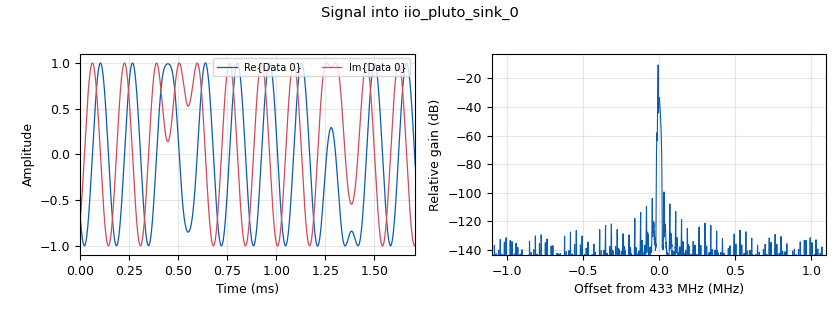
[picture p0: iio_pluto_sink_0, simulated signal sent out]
options:
  parameters:
    generate_options: qt_gui
    id: ok
    output_language: python
    title: Not titled yet
  states: {}

blocks:
- name: samp_rate
  id: variable
  parameters:
    value: '9600'
  states: {}
- name: samp_rate_base
  id: variable
  parameters:
    value: sps*samp_rate
  states: {}
- name: samp_rate_pluto
  id: variable
  parameters:
    value: '2200000'
  states: {}
- name: sps
  id: variable
  parameters:
    value: '4'
  states: {}
- name: blocks_vector_source_x_0
  id: blocks_vector_source_x
  parameters:
    repeat: 'True'
    type: byte
    vector: '[1,0,1,0,1,0,1,0,1,0,1,0,1,0,1,0,1,0,1,0,1,0,1,0,1,0,1,0,1,0,1,0,1,0,0,0,0,1,1,1,0,1,0,1,1,0,1,0,1,1,1,1,0,1,1,0,1,1,0,1,0,1,1,0]'
  states: {}
- name: digital_gfsk_mod_0
  id: digital_gfsk_mod
  parameters:
    bt: '0.5'
    samples_per_symbol: sps
    sensitivity: '1.0'
  states: {}
- name: iio_pluto_sink_0
  id: iio_pluto_sink
  parameters:
    attenuation1: '10.0'
    bandwidth: '20000000'
    buffer_size: '32768'
    cyclic: 'False'
    filter_source: '''Auto'''
    frequency: '433000000'
    samplerate: samp_rate_pluto
    type: fc32
    uri: ip:192.168.2.1
  states: {}
- name: rational_resampler_xxx_0
  id: rational_resampler_xxx
  parameters:
    decim: samp_rate_base
    interp: samp_rate_pluto
    type: ccc
  states: {}

connections:
- [blocks_vector_source_x_0, '0', digital_gfsk_mod_0, '0']
- [digital_gfsk_mod_0, '0', rational_resampler_xxx_0, '0']
- [rational_resampler_xxx_0, '0', iio_pluto_sink_0, '0']

metadata:
  file_format: 1
  grc_version: 3.10.12.0
